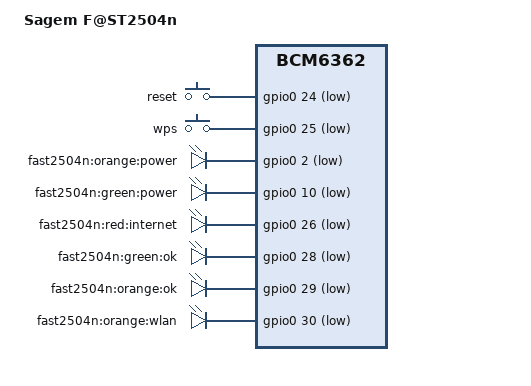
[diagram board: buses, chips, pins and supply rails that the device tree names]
/dts-v1/;

#include "bcm6362.dtsi"

#include <dt-bindings/input/input.h>

/ {
	model = "Sagem F@ST2504n";
	compatible = "sagem,f@st2504n", "brcm,bcm6362";

	gpio-keys-polled {
		compatible = "gpio-keys-polled";
		#address-cells = <1>;
		#size-cells = <0>;
		poll-interval = <20>;
		debounce-interval = <60>;

		reset {
			label = "reset";
			gpios = <&gpio0 24 1>;
			linux,code = <KEY_RESTART>;
		};
		wps {
			label = "wps";
			gpios = <&gpio0 25 1>;
			linux,code = <KEY_WPS_BUTTON>;
		};
	};

	gpio-leds {
		compatible = "gpio-leds";

		power_orange {
			label = "fast2504n:orange:power";
			gpios = <&gpio0 2 1>;
		};
		power_green {
			label = "fast2504n:green:power";
			gpios = <&gpio0 10 1>;
			default-state = "on";
		};
		inet_red {
			label = "fast2504n:red:internet";
			gpios = <&gpio0 26 1>;
		};
		ok_green {
			label = "fast2504n:green:ok";
			gpios = <&gpio0 28 1>;
		};
		ok_orange {
			label = "fast2504n:orange:ok";
			gpios = <&gpio0 29 1>;
		};
		wlan_orangee {
			label = "fast2504n:orange:wlan";
			gpios = <&gpio0 30 1>;
		};
	};
};
